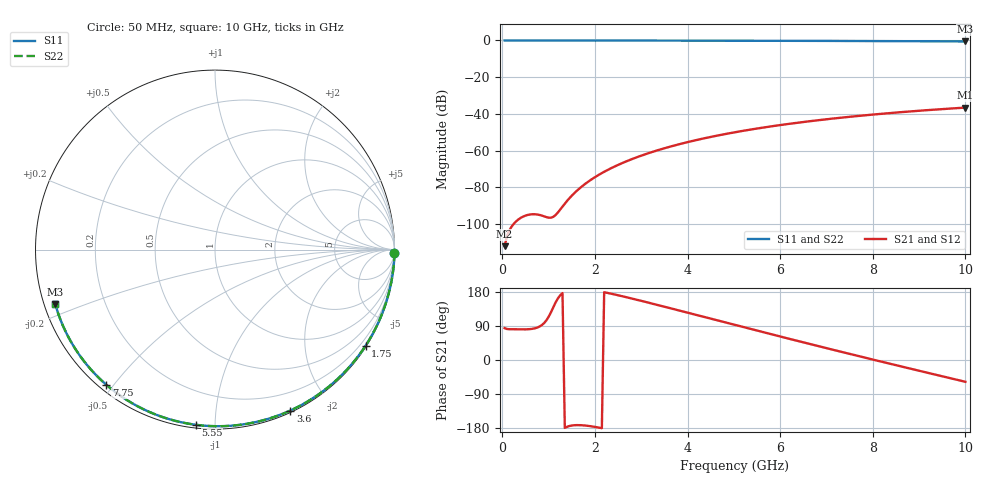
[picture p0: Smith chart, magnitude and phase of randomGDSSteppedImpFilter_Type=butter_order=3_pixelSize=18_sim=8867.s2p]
! freq	dB(S11)	phase(S11)	dB(S12)	phase(S12)
!  dB(S21)	phase(S21)	dB(S22)	phase(S22)
!S-par simulation data
#  GHz  S  DB  R 50
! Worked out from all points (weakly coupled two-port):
!   200 points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, 50 MHz to 10 GHz, reference 50 ohm
!   highest |S21| = -36.54 dB at 10 GHz (marker M1); lowest = -111.9 dB at 50 MHz (marker M2)
!   lowest |S11| = -0.5 dB at 10 GHz (marker M3), VSWR 32.55, Z = 1.58 - j8.28 ohm
!   |S11| at or under -10 dB: nowhere
!   |S22| runs from -0.5 to 0.0 dB; largest |S21 - S12| = 0
!   S11 on the Smith chart (normalised r, x): 50 MHz: open; 1.75 GHz: 0.03, -3.43; 3.6 GHz: 0.02, -1.57; 5.55 GHz: 0.02, -0.90; 7.75 GHz: 0.02, -0.48; 10 GHz: 0.03, -0.17
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0.05  -0.00 -0.9  -111.93 84.1  -111.93 84.1  -0.00 -0.9
0.45  -0.01 -8.5  -95.83 80.8  -95.83 80.8  -0.01 -8.5
0.85  -0.02 -16.0  -95.25 91.8  -95.25 91.8  -0.02 -16.0
1.65  -0.04 -30.7  -80.88 -171.8  -80.88 -171.8  -0.04 -30.7
1.7  -0.04 -31.6  -79.81 -172.0  -79.81 -172.0  -0.04 -31.6
1.75  -0.04 -32.5  -78.80 -172.5  -78.80 -172.5  -0.04 -32.5
1.9  -0.04 -35.2  -76.05 -174.6  -76.05 -174.6  -0.04 -35.2
2.05  -0.05 -37.9  -73.62 -177.6  -73.62 -177.6  -0.05 -37.9
2.25  -0.05 -41.5  -70.79 177.6  -70.79 177.6  -0.05 -41.5
2.45  -0.06 -45.1  -68.29 172.3  -68.29 172.3  -0.06 -45.1
2.9  -0.07 -53.0  -63.59 159.2  -63.59 159.2  -0.07 -53.0
3.4  -0.08 -61.6  -59.40 143.8  -59.40 143.8  -0.08 -61.6
3.6  -0.09 -64.9  -57.94 137.5  -57.94 137.5  -0.09 -64.9
4.3  -0.11 -76.5  -53.57 115.4  -53.57 115.4  -0.11 -76.5
5.05  -0.14 -88.5  -49.83 91.7  -49.83 91.7  -0.14 -88.5
5.55  -0.16 -96.3  -47.72 76.0  -47.72 76.0  -0.16 -96.3
6.1  -0.19 -104.6  -45.69 58.9  -45.69 58.9  -0.19 -104.6
6.7  -0.22 -113.6  -43.76 40.4  -43.76 40.4  -0.22 -113.6
7.75  -0.30 -128.8  -40.92 8.6  -40.92 8.6  -0.30 -128.8
8.35  -0.35 -137.4  -39.55 -9.2  -39.55 -9.2  -0.35 -137.4
9.2  -0.44 -149.6  -37.87 -34.2  -37.87 -34.2  -0.44 -149.6
10  -0.53 -161.2  -36.54 -57.5  -36.54 -57.5  -0.53 -161.2
